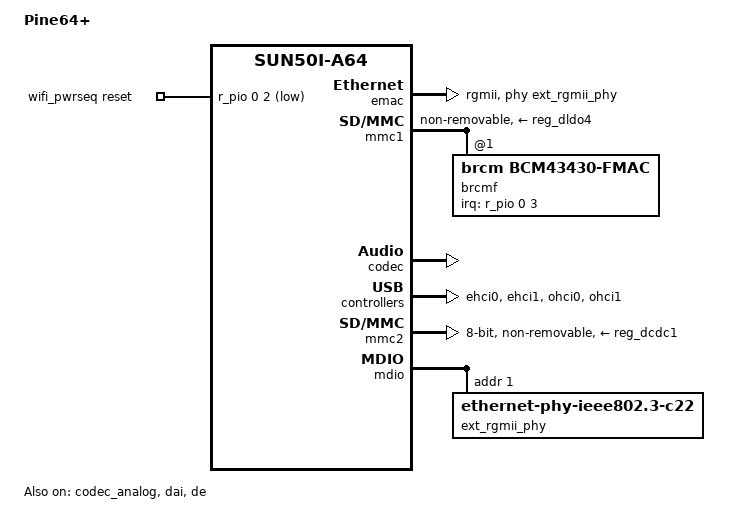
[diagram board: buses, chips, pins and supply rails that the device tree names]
/*
 * Copyright (c) 2016 ARM Ltd.
 *
 * This file is dual-licensed: you can use it either under the terms
 * of the GPL or the X11 license, at your option. Note that this dual
 * licensing only applies to this file, and not this project as a
 * whole.
 *
 *  a) This library is free software; you can redistribute it and/or
 *     modify it under the terms of the GNU General Public License as
 *     published by the Free Software Foundation; either version 2 of the
 *     License, or (at your option) any later version.
 *
 *     This library is distributed in the hope that it will be useful,
 *     but WITHOUT ANY WARRANTY; without even the implied warranty of
 *     MERCHANTABILITY or FITNESS FOR A PARTICULAR PURPOSE.  See the
 *     GNU General Public License for more details.
 *
 * Or, alternatively,
 *
 *  b) Permission is hereby granted, free of charge, to any person
 *     obtaining a copy of this software and associated documentation
 *     files (the "Software"), to deal in the Software without
 *     restriction, including without limitation the rights to use,
 *     copy, modify, merge, publish, distribute, sublicense, and/or
 *     sell copies of the Software, and to permit persons to whom the
 *     Software is furnished to do so, subject to the following
 *     conditions:
 *
 *     The above copyright notice and this permission notice shall be
 *     included in all copies or substantial portions of the Software.
 *
 *     THE SOFTWARE IS PROVIDED "AS IS", WITHOUT WARRANTY OF ANY KIND,
 *     EXPRESS OR IMPLIED, INCLUDING BUT NOT LIMITED TO THE WARRANTIES
 *     OF MERCHANTABILITY, FITNESS FOR A PARTICULAR PURPOSE AND
 *     NONINFRINGEMENT. IN NO EVENT SHALL THE AUTHORS OR COPYRIGHT
 *     HOLDERS BE LIABLE FOR ANY CLAIM, DAMAGES OR OTHER LIABILITY,
 *     WHETHER IN AN ACTION OF CONTRACT, TORT OR OTHERWISE, ARISING
 *     FROM, OUT OF OR IN CONNECTION WITH THE SOFTWARE OR THE USE OR
 *     OTHER DEALINGS IN THE SOFTWARE.
 */

#include "sun50i-a64-pine64.dts"

/ {
	model = "Pine64+";
	compatible = "pine64,pine64-plus", "allwinner,sun50i-a64";

	/* TODO: Camera, touchscreen, etc. */
/*
	hdmi-connector {
		compatible = "hdmi-connector";
		type = "a";

		port {
			hdmi_con_in: endpoint {
				remote-endpoint = <&hdmi_out_con>;
			};
		};
	};
*/


	wifi_pwrseq: wifi_pwrseq {
		compatible = "mmc-pwrseq-simple";
		reset-gpios = <&r_pio 0 2 GPIO_ACTIVE_LOW>;
	};

/*
	mmc2_ds_pin: mmc2-ds-pin {
                                pins = "PC1";
                                function = "mmc2";
                                drive-strength = <30>;
                                bias-pull-up;
                        };

*/

};

&emac {
	pinctrl-names = "default";
	pinctrl-0 = <&rgmii_pins>;
	phy-mode = "rgmii";
	phy-handle = <&ext_rgmii_phy>;
	status = "okay";
};


&mmc1 {

	pinctrl-names = "default";
	status = "okay";
	pinctrl-0 = <&mmc1_pins>;
	vmmc-supply = <&reg_dldo4>;
	vqmmc-supply = <&reg_eldo1>;
	mmc-pwrseq = <&wifi_pwrseq>;
	non-removable;

	brcmf: wifi@1 {
		reg = <1>;
		compatible = "brcm,bcm43430-fmac";
		interrupt-parent = <&r_pio>;
		interrupts = <0 3 IRQ_TYPE_LEVEL_LOW>; /* PL3 */
		interrupt-names = "host-wake";
	};

};


&codec {
        status = "okay";
};

&codec_analog {
        hpvcc-supply = <&reg_eldo1>;
        status = "okay";
};

&dai {
        status = "okay";
};

&de {
        status = "okay";
};



&ehci0 {
        status = "okay";
};

&ehci1 {
        status = "okay";
};

/*
&i2s1 {
        status = "okay";
};
*/

&mmc2 {
        pinctrl-names = "default";
        pinctrl-0 = <&mmc2_pins>, <&mmc2_ds_pin>;
        vmmc-supply = <&reg_dcdc1>;
/*      vqmmc-supply = <&reg_eldo1>;*/
        vqmmc-supply = <&reg_dcdc1>;
        bus-width = <8>;
        non-removable;
        cap-mmc-hw-reset;
        mmc-hs200-1_8v;
        status = "okay";
};


&ohci0 {
        status = "okay";
};

&ohci1 {
        status = "okay";
};



&mdio {
	ext_rgmii_phy: ethernet-phy@1 {
		compatible = "ethernet-phy-ieee802.3-c22";
		reg = <1>;
	};
};

/*HDMI*/
/*
&hdmi {
        hvcc-supply = <&reg_dldo1>;
        status = "okay";
};

&hdmi_out {
        hdmi_out_con: endpoint {
                remote-endpoint = <&hdmi_con_in>;
        };
};


&simplefb_hdmi {
        vcc-hdmi-supply = <&reg_dldo1>;
};
*/

&sound {
        simple-audio-card,aux-devs = <&codec_analog>;
        simple-audio-card,widgets = "Microphone", "Microphone Jack",
                                    "Headphone", "Headphone Jack";
        simple-audio-card,routing =
                        "Left DAC", "AIF1 Slot 0 Left",
                        "Right DAC", "AIF1 Slot 0 Right",
                        "Headphone Jack", "HP",
                        "AIF1 Slot 0 Left ADC", "Left ADC",
                        "AIF1 Slot 0 Right ADC", "Right ADC",
                        "MIC2", "Microphone Jack";
        status = "okay";
};

